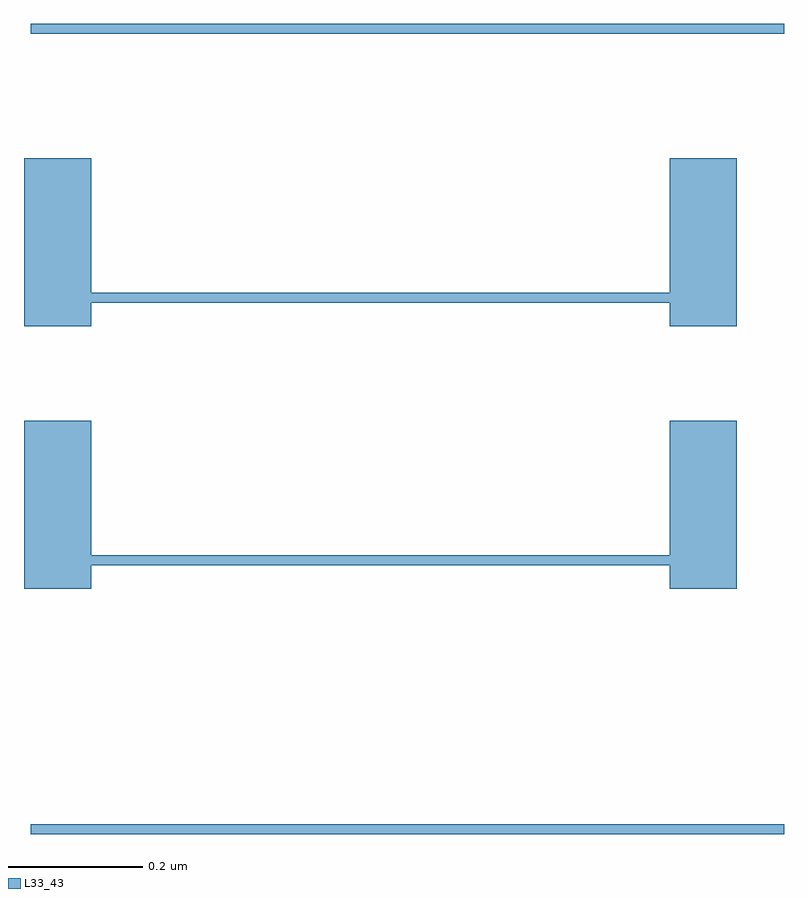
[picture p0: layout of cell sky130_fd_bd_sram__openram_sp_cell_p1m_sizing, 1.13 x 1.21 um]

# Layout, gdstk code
import gdstk
lib = gdstk.Library(unit=1e-6, precision=1e-09)
def R(c, l, rs):  # rectangles x0, y0, x1, y1
    for r in rs: c.add(gdstk.rectangle(r[:2], r[2:], *l))
L33_43 = (33, 43)

sky130_fd_bd_sram__openr = lib.new_cell('sky130_fd_bd_sram__openram_sp_cell_p1_serif')
R(sky130_fd_bd_sram__openr, L33_43, [(-0.01,-0.125,0.09,0.125)])

c_sky130_fd_bd_sram__openr = lib.new_cell('sky130_fd_bd_sram__openram_sp_cell_p1_serifs')
c_sky130_fd_bd_sram__openr.add(gdstk.Reference(sky130_fd_bd_sram__openr, (0.97,0.515)))
c_sky130_fd_bd_sram__openr.add(gdstk.Reference(sky130_fd_bd_sram__openr, (0.97,0.125)))
c_sky130_fd_bd_sram__openr.add(gdstk.Reference(sky130_fd_bd_sram__openr, (0.01,0.515)))
c_sky130_fd_bd_sram__openr.add(gdstk.Reference(sky130_fd_bd_sram__openr, (0.01,0.125)))

c_sky130_fd_bd_sram__openr_ = lib.new_cell('sky130_fd_bd_sram__openram_sp_cell_p1m_sizing')
R(c_sky130_fd_bd_sram__openr_, L33_43, [(0.08,0.105,1.2,0.12), (0.07,0.505,1.13,0.52), (0.07,0.895,1.13,0.91), (0.08,1.295,1.2,1.31)])
c_sky130_fd_bd_sram__openr_.add(gdstk.Reference(c_sky130_fd_bd_sram__openr, (0.07,0.47)))

lib.write_gds('sky130_fd_bd_sram__openram_sp_cell_p1m_sizing.gds')
